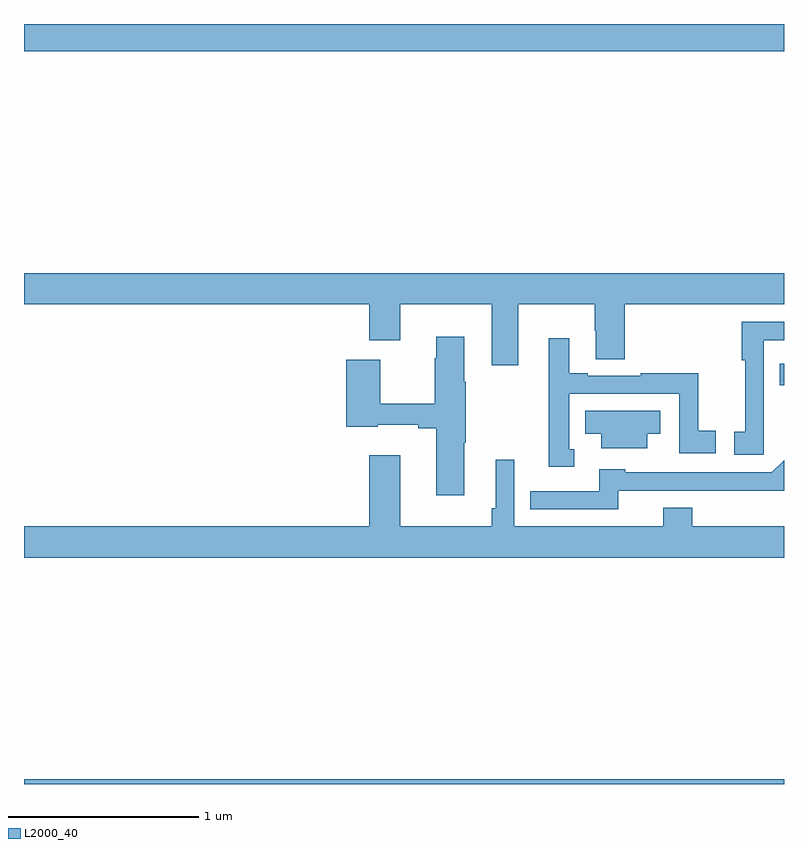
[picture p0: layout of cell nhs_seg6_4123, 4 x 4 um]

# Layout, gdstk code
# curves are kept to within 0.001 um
import gdstk
lib = gdstk.Library(unit=1e-6, precision=1e-09)
def R(c, l, rs):  # rectangles x0, y0, x1, y1
    for r in rs: c.add(gdstk.rectangle(r[:2], r[2:], *l))
def P(c, l, *ps):  # polygons
    for p in ps: c.add(gdstk.Polygon(p, *l))
L2000_40 = (2000, 40)

nhs_seg6_4123 = lib.new_cell('nhs_seg6_4123')
R(nhs_seg6_4123, L2000_40, [(355,923.5,359,923.524), (358.978,925.598,359,925.711), (355,927.356,359,927.5)])
P(nhs_seg6_4123, L2000_40, [(355,926.024),(356.816,926.024),(356.816,925.836),(356.98,925.836),(356.98,926.024),(357.461,926.024),(357.461,925.704),(357.601,925.704),(357.601,926.024),(358.003,926.024),(358.003,925.886),(358.01,925.886),(358.01,925.735),(358.163,925.735),(358.163,926.024),(359,926.024),(359,926.188),(355,926.188)],
  [(358.894,925.508),(358.893,925.508),(358.893,925.836),(359,925.836),(359,925.932),(358.777,925.932),(358.777,925.729),(358.795,925.729),(358.795,925.353),(358.737,925.353),(358.737,925.233),(358.894,925.233)],
  [(357.316,925.295),(357.324,925.295),(357.324,925.616),(357.316,925.616),(357.316,925.855),(357.17,925.855),(357.17,925.742),(357.163,925.742),(357.163,925.501),(356.874,925.501),(356.874,925.732),(356.696,925.732),(356.696,925.379),(356.862,925.379),(356.862,925.391),(357.074,925.391),(357.074,925.372),(357.17,925.372),(357.17,925.02),(357.316,925.02)],
  [(357.895,925.263),(357.87,925.263),(357.87,925.554),(358.449,925.554),(358.449,925.242),(358.642,925.242),(358.642,925.358),(358.548,925.358),(358.548,925.663),(358.246,925.663),(358.246,925.65),(357.967,925.65),(357.967,925.663),(357.871,925.663),(357.871,925.846),(357.761,925.846),(357.761,925.601),(357.762,925.601),(357.762,925.169),(357.895,925.169)],
  [(358.279,925.343),(358.348,925.343),(358.348,925.465),(357.955,925.465),(357.955,925.343),(358.037,925.343),(358.037,925.268),(358.279,925.268)],
  [(359,924.856),(358.517,924.856),(358.517,924.955),(358.364,924.955),(358.364,924.856),(357.579,924.856),(357.579,925.207),(357.482,925.207),(357.482,924.952),(357.463,924.952),(357.463,924.856),(356.98,924.856),(356.98,925.231),(356.816,925.231),(356.816,924.856),(355,924.856),(355,924.692),(359,924.692)],
  [(358.128,925.044),(359,925.043),(359,925.205),(358.935,925.14),(358.164,925.14),(358.164,925.156),(358.028,925.156),(358.028,925.041),(357.664,925.041),(357.664,924.945),(358.128,924.945)])

lib.write_gds('nhs_seg6_4123.gds')
